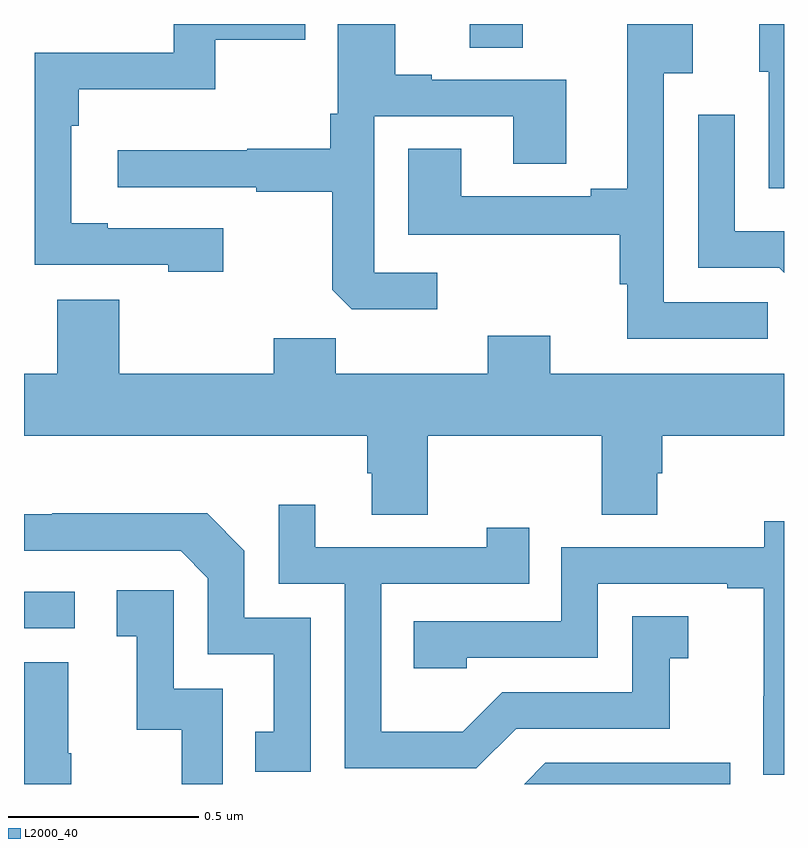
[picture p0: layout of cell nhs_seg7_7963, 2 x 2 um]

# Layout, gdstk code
import gdstk
lib = gdstk.Library(unit=1e-6, precision=1e-09)
def R(c, l, rs):  # rectangles x0, y0, x1, y1
    for r in rs: c.add(gdstk.rectangle(r[:2], r[2:], *l))
def P(c, l, *ps):  # polygons
    for p in ps: c.add(gdstk.Polygon(p, *l))
L2000_40 = (2000, 40)

nhs_seg7_7963 = lib.new_cell('nhs_seg7_7963')
R(nhs_seg7_7963, L2000_40, [(218,1033.41,218.134,1033.506), (219.173,1034.938,219.313,1035)])
P(nhs_seg7_7963, L2000_40, [(218.524,1034.463),(218.221,1034.463),(218.221,1034.476),(218.124,1034.476),(218.124,1034.732),(218.144,1034.732),(218.144,1034.828),(218.503,1034.828),(218.503,1034.959),(218.74,1034.959),(218.74,1035),(218.394,1035),(218.394,1034.925),(218.028,1034.925),(218.028,1034.367),(218.379,1034.367),(218.379,1034.348),(218.524,1034.348)],
  [(219.088,1034.346),(218.922,1034.346),(218.922,1034.757),(219.287,1034.757),(219.287,1034.632),(219.427,1034.632),(219.427,1034.853),(219.073,1034.853),(219.073,1034.866),(218.977,1034.866),(218.977,1035),(218.826,1035),(218.826,1034.764),(218.806,1034.764),(218.806,1034.672),(218.587,1034.672),(218.587,1034.668),(218.247,1034.668),(218.247,1034.571),(218.611,1034.571),(218.611,1034.559),(218.811,1034.559),(218.811,1034.301),(218.863,1034.25),(219.088,1034.25)],
  [(219.957,1034.268),(219.684,1034.268),(219.684,1034.87),(219.76,1034.87),(219.76,1035),(219.587,1035),(219.587,1034.567),(219.491,1034.567),(219.491,1034.547),(219.151,1034.547),(219.151,1034.672),(219.011,1034.672),(219.011,1034.446),(219.568,1034.446),(219.568,1034.315),(219.587,1034.315),(219.587,1034.172),(219.957,1034.172)],
  [(220,1035),(219.935,1035),(219.935,1034.874),(219.96,1034.874),(219.96,1034.568),(220,1034.568)],
  [(220,1034.454),(219.87,1034.454),(219.87,1034.761),(219.774,1034.761),(219.774,1034.358),(219.987,1034.358),(220,1034.345)],
  [(219.063,1033.916),(219.52,1033.916),(219.52,1033.708),(219.667,1033.708),(219.667,1033.818),(219.68,1033.818),(219.68,1033.916),(220,1033.916),(220,1034.08),(219.385,1034.08),(219.385,1034.179),(219.221,1034.179),(219.221,1034.08),(218.821,1034.08),(218.821,1034.173),(218.657,1034.173),(218.657,1034.08),(218.251,1034.08),(218.251,1034.275),(218.087,1034.275),(218.087,1034.08),(218,1034.08),(218,1033.916),(218.903,1033.916),(218.903,1033.818),(218.915,1033.818),(218.915,1033.708),(219.063,1033.708)],
  [(219.295,1033.146),(219.699,1033.146),(219.699,1033.331),(219.748,1033.331),(219.748,1033.441),(219.6,1033.441),(219.6,1033.242),(219.258,1033.242),(219.154,1033.138),(218.94,1033.138),(218.94,1033.527),(219.329,1033.527),(219.329,1033.675),(219.218,1033.675),(219.218,1033.623),(218.767,1033.623),(218.767,1033.735),(218.67,1033.735),(218.67,1033.527),(218.844,1033.527),(218.844,1033.041),(219.19,1033.041)],
  [(218.754,1033.437),(218.58,1033.437),(218.58,1033.614),(218.482,1033.712),(218.074,1033.712),(218.074,1033.71),(218,1033.71),(218,1033.614),(218.412,1033.614),(218.484,1033.542),(218.484,1033.341),(218.657,1033.341),(218.657,1033.137),(218.608,1033.137),(218.608,1033.032),(218.754,1033.032)],
  [(220,1033.692),(219.948,1033.692),(219.948,1033.623),(219.414,1033.623),(219.414,1033.428),(219.025,1033.428),(219.025,1033.305),(219.165,1033.305),(219.165,1033.332),(219.51,1033.332),(219.51,1033.527),(219.851,1033.527),(219.851,1033.515),(219.947,1033.515),(219.947,1033.231),(219.946,1033.231),(219.946,1033.025),(220,1033.025)],
  [(218.523,1033.251),(218.394,1033.251),(218.394,1033.51),(218.244,1033.51),(218.244,1033.389),(218.297,1033.389),(218.297,1033.143),(218.415,1033.143),(218.415,1033),(218.523,1033)],
  [(218.124,1033.081),(218.116,1033.081),(218.116,1033.321),(218,1033.321),(218,1033),(218.124,1033)],
  [(219.858,1033.056),(219.372,1033.056),(219.316,1033),(219.858,1033)])

lib.write_gds('nhs_seg7_7963.gds')
